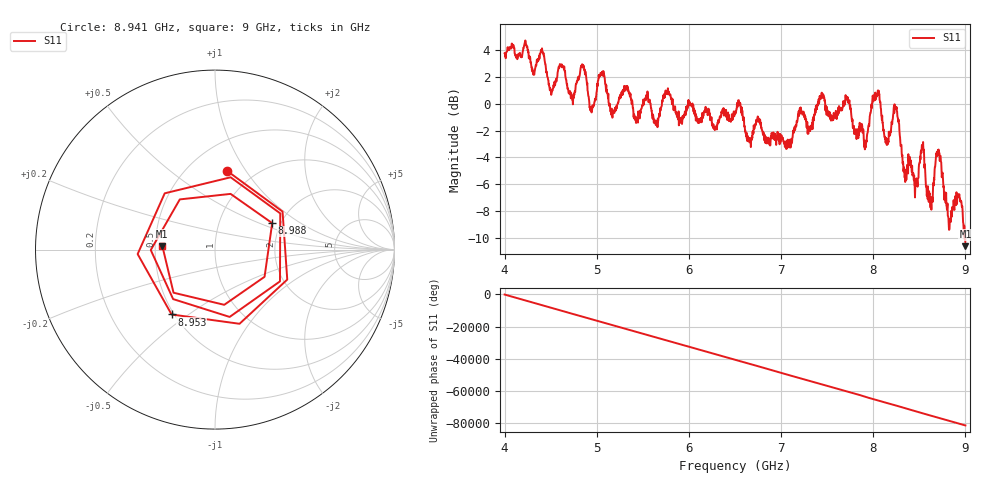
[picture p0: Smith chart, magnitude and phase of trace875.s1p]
! Created with skrf 1.8.0 (http://scikit-rf.org).
# Hz S RI R 50.0
!freq ReS11 ImS11
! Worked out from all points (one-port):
!   1601 points, 4 GHz to 9 GHz, reference 50 ohm
!   lowest |S11| = -10.6 dB at 9 GHz (marker M1), VSWR 1.83, Z = 27.3 + j1.24 ohm
!   |S11| at or under -10 dB: 8.990891 GHz to 8.994627 GHz (3.735 MHz wide, 0.0415 % of centre); 8.998267 GHz to end of sweep
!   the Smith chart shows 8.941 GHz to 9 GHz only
!   S11 on the Smith chart (normalised r, x): 8.941 GHz: 0.76, +0.83; 8.953 GHz: 0.48, -0.43; 8.988 GHz: 1.80, +0.61; 9 GHz: 0.55, +0.02
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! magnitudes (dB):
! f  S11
! 4 GHz  3.8
! 4.406 GHz  4.1
! 4.509 GHz  0.8
! 4.625 GHz  2.7
! 4.731 GHz  0.6
! 4.856 GHz  2.8
! 4.944 GHz  -0.6
! 5.053 GHz  2.1
! 5.169 GHz  -1.0
! 5.25 GHz  0.6
! 5.875 GHz  -1.0
! 6.5 GHz  -0.7
! 7.125 GHz  -2.5
! 7.444 GHz  0.6
! 7.75 GHz  -0.1
! 7.916 GHz  -3.3
! 8.031 GHz  0.7
! 8.141 GHz  -2.6
! 8.244 GHz  -0.3
! 8.375 GHz  -4.8
! 8.534 GHz  -3.3
! 8.622 GHz  -7.7
! 8.706 GHz  -3.6
! 8.819 GHz  -9.0
! 8.941 GHz  -7.1
! 8.953 GHz  -7.2
! 8.988 GHz  -9.1
! 9 GHz  -10.6
